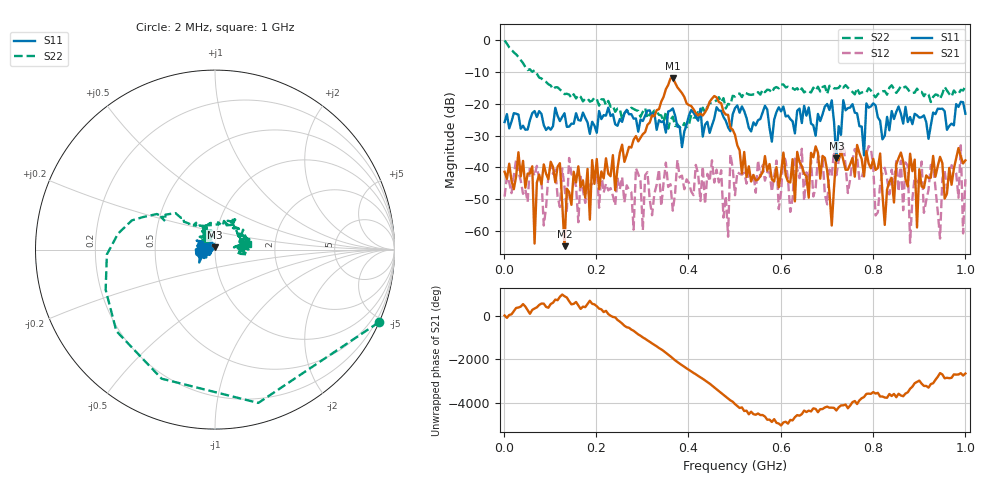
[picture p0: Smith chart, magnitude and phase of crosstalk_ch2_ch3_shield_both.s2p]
!Keysight Technologies N9923A: A.12.45
!Date: Friday, 10 October 2025 03:07:27
!Timezone: (UTC+08:00) Kuala Lumpur, Singapore
!Model: N9923A
!Serial: MY61181427
!GPS Latitude:
!GPS Longitude:
!GPS TimeStamp: 0001-01-01 00:00:00Z
!GPS Seconds Since Last Read: 0
!CHECKSUM:0465860949
!Correction: S11(ON U?)S21(ON U?)S12(ON U?)S22(ON U?)
!S2P File: Measurements:S11,S21,S12,S22:
# Hz S DB R 50
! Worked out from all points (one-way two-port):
!   201 points, 2 MHz to 1 GHz, reference 50 ohm
!   highest |S21| = -11.84 dB at 366.3 MHz (marker M1); lowest = -64.9 dB at 131.7 MHz (marker M2)
!   lowest |S11| = -37.2 dB at 720.6 MHz (marker M3), VSWR 1.03, Z = 49.8 + j1.37 ohm
!   |S11| at or under -10 dB: start of sweep to end of sweep
!   |S22| runs from -27.8 to 0.0 dB; largest |S21 - S12| = 0.26
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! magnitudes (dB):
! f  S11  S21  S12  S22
! 2 MHz  -25.7  -41.4  -49.3  0.0
! 61.88 MHz  -22.9  -39.7  -40.8  -9.9
! 66.87 MHz  -22.3  -64.1  -42.7  -9.4
! 76.85 MHz  -22.3  -42.3  -43.9  -11.7
! 121.8 MHz  -25.4  -38.7  -52.5  -15.5
! 131.7 MHz  -23.0  -64.9  -46.2  -16.9
! 171.7 MHz  -22.8  -44.1  -47.4  -19.2
! 281.4 MHz  -24.7  -31.3  -59.7  -21.6
! 286.4 MHz  -24.6  -30.2  -40.3  -22.0
! 301.4 MHz  -25.4  -29.6  -59.8  -22.5
! 336.3 MHz  -25.1  -21.7  -40.7  -23.5
! 366.3 MHz  -21.5  -11.8  -53.7  -24.0
! 501 MHz  -21.4  -29.8  -48.8  -17.7
! 670.7 MHz  -26.8  -36.9  -49.2  -14.9
! 710.6 MHz  -18.9  -58.4  -42.7  -14.4
! 720.6 MHz  -37.2  -36.1  -42.5  -15.1
! 735.5 MHz  -18.9  -37.8  -32.6  -14.9
! 835.3 MHz  -28.3  -44.6  -48.6  -14.9
! 880.2 MHz  -24.1  -35.7  -63.8  -16.4
! 930.1 MHz  -22.8  -36.4  -39.0  -17.8
! 945.1 MHz  -21.6  -36.7  -62.5  -18.4
! 1 GHz  -23.1  -37.8  -43.8  -14.5
